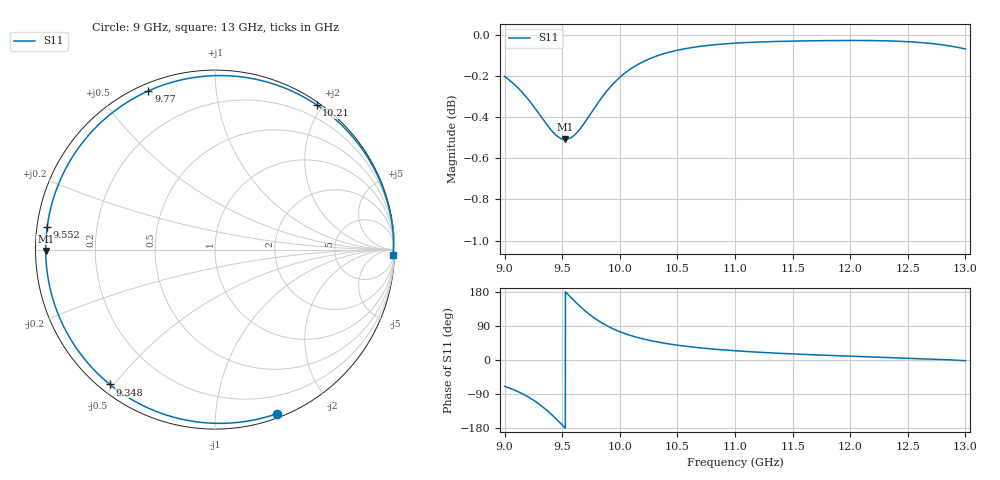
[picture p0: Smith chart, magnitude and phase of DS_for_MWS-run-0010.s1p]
! TOUCHSTONE file generated by CST DESIGN STUDIO
! Date and time: Tue Feb  4 17:12:58 2025
! Project name: C:\Work\MatlabApps\UnitCellOptimizationMatlab\CST\unitcell.cst
! Tree item: Tasks\Sweep1\SPara1\S-Parameters
! Header version: 2024
! Port assignment regex: !\s*Touchstone port\s*([0-9]+)\s*=\s*(CST MWS port|CST DES external port|CST DES block port)\s*(.+)\s* \(\"(.*)\"\)(\s*mode\s*([0-9]+))?.*
! Touchstone port assignment:
! Touchstone port 1 = CST DES external port 1 ("")
# GHz S MA R 50
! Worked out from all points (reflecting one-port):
!   4001 points, 9 GHz to 13 GHz, reference 50 ohm
!   lowest |S11| = -0.5 dB at 9.526 GHz (marker M1), VSWR 34.21, Z = 1.46 - j0.183 ohm
!   phase of S11 starts at -69 deg and turns -292 deg over the sweep
!   S11 on the Smith chart (normalised r, x): 9 GHz: 0.04, -1.44; 9.348 GHz: 0.03, -0.49; 9.552 GHz: 0.03, +0.07; 9.77 GHz: 0.03, +0.66; 10.21 GHz: 0.03, +1.92; 13 GHz: 15, -59
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9  0.9771 -69.4
9.1  0.9717 -81.2
9.207  0.9644 -97.8
9.281  0.9584 -112.3
9.348  0.9526 -127.9
9.39  0.9491 -139.0
9.432  0.9462 -150.9
9.5  0.9434 -171.5
9.526  0.9432 -179.6
9.552  0.9434 172.3
9.605  0.9454 156.1
9.665  0.9496 138.8
9.717  0.9541 125.2
9.77  0.959 112.8
9.818  0.9634 102.8
9.87  0.9677 93.4
9.934  0.9724 83.4
10  0.9765 74.8
10.1  0.9814 64.2
10.212  0.9854 54.9
10.344  0.9888 46.6
10.5  0.9915 39.1
10.721  0.9938 31.4
11  0.9954 24.4
11.5  0.9965 16.0
12  0.9969 10.1
12.5  0.9962 4.8
13  0.9921 -1.8
